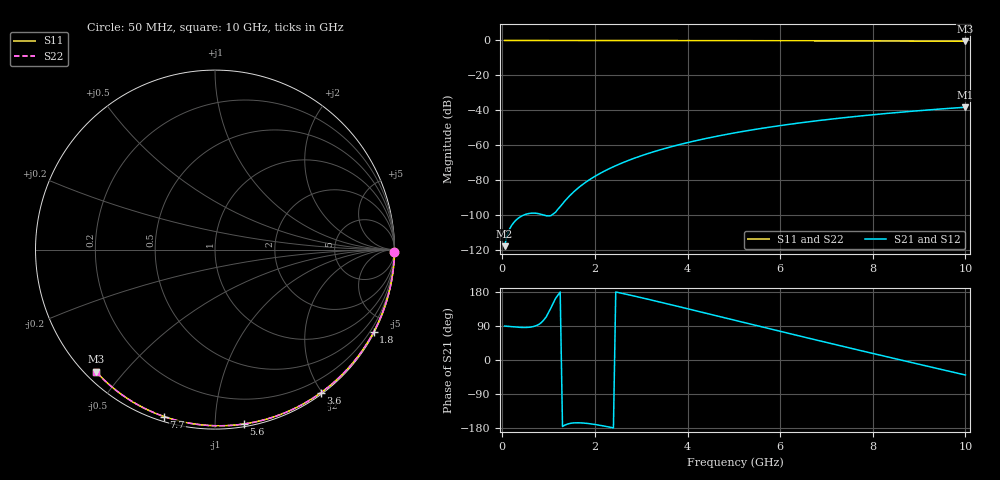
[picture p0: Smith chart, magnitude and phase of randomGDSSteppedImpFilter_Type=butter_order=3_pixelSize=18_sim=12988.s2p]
! freq	dB(S11)	phase(S11)	dB(S12)	phase(S12)
!  dB(S21)	phase(S21)	dB(S22)	phase(S22)
!S-par simulation data
#  GHz  S  DB  R 50
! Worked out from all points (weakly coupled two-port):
!   200 points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, 50 MHz to 10 GHz, reference 50 ohm
!   highest |S21| = -38.22 dB at 10 GHz (marker M1); lowest = -117.8 dB at 50 MHz (marker M2)
!   lowest |S11| = -0.4 dB at 10 GHz (marker M3), VSWR 38.75, Z = 1.52 - j21.1 ohm
!   |S11| at or under -10 dB: nowhere
!   |S22| runs from -0.4 to 0.0 dB; largest |S21 - S12| = 0
!   S11 on the Smith chart (normalised r, x): 50 MHz: open; 1.8 GHz: 0.04, -4.10; 3.6 GHz: 0.02, -1.98; 5.6 GHz: 0.02, -1.18; 7.7 GHz: 0.02, -0.74; 10 GHz: 0.03, -0.42
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0.05  -0.00 -0.8  -117.78 89.5  -117.78 89.5  -0.00 -0.8
0.9  -0.02 -13.8  -100.04 106.3  -100.04 106.3  -0.02 -13.8
1.75  -0.03 -26.7  -82.16 -166.3  -82.16 -166.3  -0.03 -26.7
1.8  -0.03 -27.4  -81.21 -166.9  -81.21 -166.9  -0.03 -27.4
1.85  -0.04 -28.2  -80.30 -167.6  -80.30 -167.6  -0.04 -28.2
1.9  -0.04 -28.9  -79.43 -168.3  -79.43 -168.3  -0.04 -28.9
2.05  -0.04 -31.1  -77.02 -171.1  -77.02 -171.1  -0.04 -31.1
2.25  -0.04 -34.1  -74.19 -175.5  -74.19 -175.5  -0.04 -34.1
2.45  -0.05 -37.0  -71.69 179.5  -71.69 179.5  -0.05 -37.0
2.65  -0.05 -40.0  -69.45 174.2  -69.45 174.2  -0.05 -40.0
3  -0.06 -45.0  -66.03 164.5  -66.03 164.5  -0.06 -45.0
3.4  -0.07 -50.8  -62.68 153.0  -62.68 153.0  -0.07 -50.8
3.6  -0.07 -53.6  -61.19 147.2  -61.19 147.2  -0.07 -53.6
4.3  -0.09 -63.3  -56.68 126.4  -56.68 126.4  -0.09 -63.3
5.05  -0.11 -73.5  -52.76 104.0  -52.76 104.0  -0.11 -73.5
5.6  -0.13 -80.7  -50.33 87.6  -50.33 87.6  -0.13 -80.7
6.15  -0.16 -87.8  -48.19 71.3  -48.19 71.3  -0.16 -87.8
6.7  -0.18 -94.7  -46.29 55.1  -46.29 55.1  -0.18 -94.7
7.7  -0.24 -107.0  -43.32 26.0  -43.32 26.0  -0.24 -107.0
8.35  -0.29 -114.8  -41.67 7.3  -41.67 7.3  -0.29 -114.8
9.15  -0.36 -124.3  -39.88 -15.5  -39.88 -15.5  -0.36 -124.3
10  -0.45 -134.3  -38.22 -39.6  -38.22 -39.6  -0.45 -134.3
